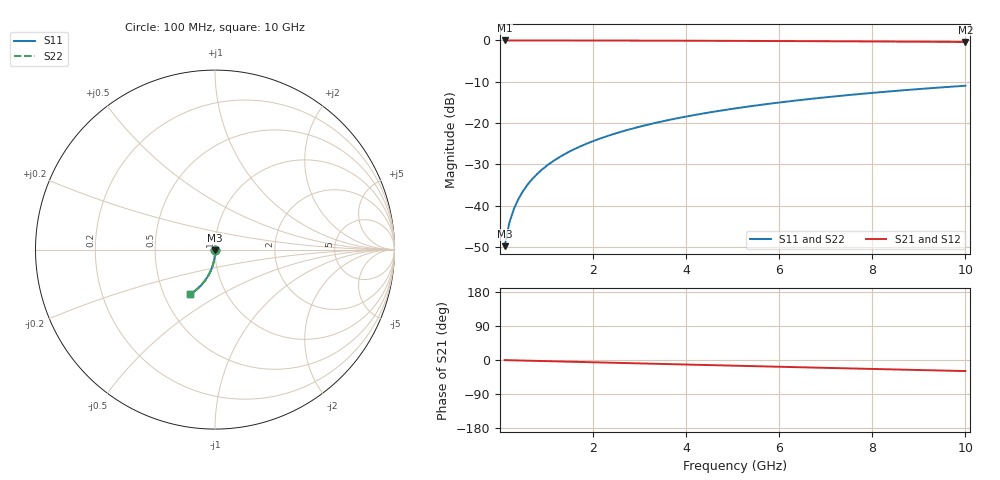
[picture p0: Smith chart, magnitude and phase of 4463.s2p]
# Hz S RI R 50.00
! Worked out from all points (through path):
!   100 points, 100 MHz to 10 GHz, reference 50 ohm
!   highest |S21| = -0.01 dB at 100 MHz (marker M1); lowest = -0.4 dB at 10 GHz (marker M2)
!   group delay of S21, straight-line fit = 8.13 ps
!   lowest |S11| = -49.8 dB at 100 MHz (marker M3), VSWR 1.01, Z = 50.1 - j0.304 ohm
!   |S11| at or under -10 dB: start of sweep to end of sweep
!   |S22| runs from -49.8 to -11.0 dB; largest |S21 - S12| = 0
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1e8  0.00115 -0.00304  0.9988 -0.00523  0.9988 -0.00523  0.00115 -0.00304
2e8  0.0011 -0.00608  0.9987 -0.0105  0.9987 -0.0105  0.0011 -0.00608
3e8  0.00102 -0.00911  0.9986 -0.0157  0.9986 -0.0157  0.00102 -0.00911
4e8  0.000913 -0.0121  0.9985 -0.0209  0.9985 -0.0209  0.000913 -0.0121
5e8  0.000771 -0.0152  0.9983 -0.0261  0.9983 -0.0261  0.000771 -0.0152
6e8  0.000596 -0.0182  0.9981 -0.0313  0.9981 -0.0313  0.000596 -0.0182
7e8  0.000389 -0.0212  0.9979 -0.0366  0.9979 -0.0366  0.000389 -0.0212
8e8  0.000151 -0.0243  0.9976 -0.0418  0.9976 -0.0418  0.000151 -0.0243
9e8  -0.00012 -0.0273  0.9973 -0.047  0.9973 -0.047  -0.00012 -0.0273
1.1e9  -0.000756 -0.0333  0.9965 -0.0574  0.9965 -0.0574  -0.000756 -0.0333
1.4e9  -0.00195 -0.0424  0.9952 -0.073  0.9952 -0.073  -0.00195 -0.0424
1.8e9  -0.00397 -0.0543  0.9928 -0.0937  0.9928 -0.0937  -0.00397 -0.0543
2.1e9  -0.00581 -0.0632  0.9907 -0.1092  0.9907 -0.1092  -0.00581 -0.0632
2.5e9  -0.0087 -0.075  0.9873 -0.1297  0.9873 -0.1297  -0.0087 -0.075
2.9e9  -0.0121 -0.0866  0.9834 -0.15  0.9834 -0.15  -0.0121 -0.0866
3.4e9  -0.0169 -0.1008  0.9778 -0.1753  0.9778 -0.1753  -0.0169 -0.1008
4.2e9  -0.0262 -0.123  0.967 -0.215  0.967 -0.215  -0.0262 -0.123
5.1e9  -0.0387 -0.1468  0.9524 -0.2585  0.9524 -0.2585  -0.0387 -0.1468
5.9e9  -0.0515 -0.1668  0.9374 -0.2961  0.9374 -0.2961  -0.0515 -0.1668
6.7e9  -0.0658 -0.1855  0.9206 -0.3324  0.9206 -0.3324  -0.0658 -0.1855
8.4e9  -0.1005 -0.2206  0.8796 -0.405  0.8796 -0.405  -0.1005 -0.2206
1e10  -0.1372 -0.2474  0.8355 -0.4673  0.8355 -0.4673  -0.1372 -0.2474
